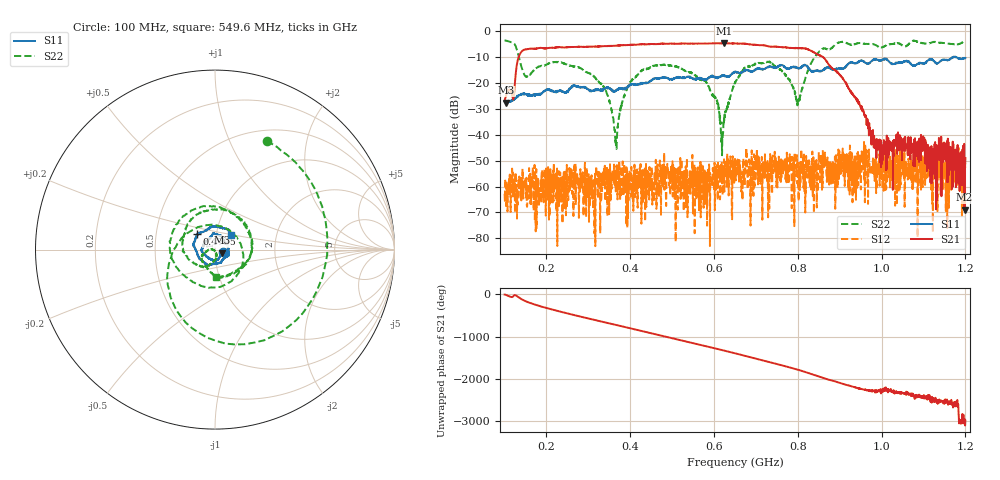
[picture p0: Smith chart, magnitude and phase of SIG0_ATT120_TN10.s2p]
# Hz S DB R 50
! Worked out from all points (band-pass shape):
!   1601 points, 100 MHz to 1.2 GHz, reference 50 ohm
!   highest |S21| = -4.54 dB at 623.9 MHz (marker M1); lowest = -68.9 dB at 1.198 GHz (marker M2)
!   |S21| within 3 dB of the highest: 142.2 MHz to 832 MHz (689.7 MHz wide, 142 % of centre)
!   lowest |S11| = -27.6 dB at 103.4 MHz (marker M3), VSWR 1.09, Z = 54 - j1.75 ohm
!   |S11| at or under -10 dB: start of sweep to 1.169 GHz; 1.169272 GHz to 1.170161 GHz (888.6 kHz wide, 0.076 % of centre); 1.178 GHz to end of sweep (the widest 3 of 4)
!   |S22| runs from -47.9 to -3.5 dB; largest |S21 - S12| = 0.59
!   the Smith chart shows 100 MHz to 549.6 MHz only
!   S11 on the Smith chart (normalised r, x): 100 MHz: 1.09, -0.03; 479.5 MHz: 0.81, +0.14; 549.6 MHz: 1.18, +0.20
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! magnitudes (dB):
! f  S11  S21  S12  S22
! 100 MHz  -27.1  -27.0  -62.8  -3.5
! 103.4 MHz  -27.6  -25.0  -67.6  -3.6
! 119.9 MHz  -26.5  -26.0  -64.5  -4.4
! 144.7 MHz  -24.1  -7.3  -64.6  -15.9
! 283.6 MHz  -21.6  -6.0  -54.8  -14.5
! 311.8 MHz  -22.7  -5.9  -68.8  -17.2
! 339.2 MHz  -22.0  -5.7  -52.0  -22.2
! 366.1 MHz  -22.9  -5.5  -55.2  -45.3
! 399.1 MHz  -20.8  -5.3  -56.0  -19.7
! 467.1 MHz  -18.3  -4.8  -58.8  -13.0
! 479.5 MHz  -17.6  -4.7  -56.0  -12.9
! 549.6 MHz  -18.3  -4.7  -70.4  -16.3
! 623.9 MHz  -17.3  -4.5  -49.4  -33.4
! 650 MHz  -15.7  -4.6  -49.3  -19.6
! 731.1 MHz  -13.6  -5.8  -50.7  -11.7
! 800.6 MHz  -14.2  -6.4  -58.9  -27.4
! 833.6 MHz  -15.6  -7.7  -50.1  -11.7
! 901.6 MHz  -14.3  -17.2  -52.5  -4.1
! 986.2 MHz  -10.8  -42.6  -48.8  -5.3
! 1.017 GHz  -11.7  -45.6  -50.7  -5.0
! 1.198 GHz  -10.3  -68.9  -50.4  -3.6
! 1.2 GHz  -10.3  -49.0  -50.9  -3.5
